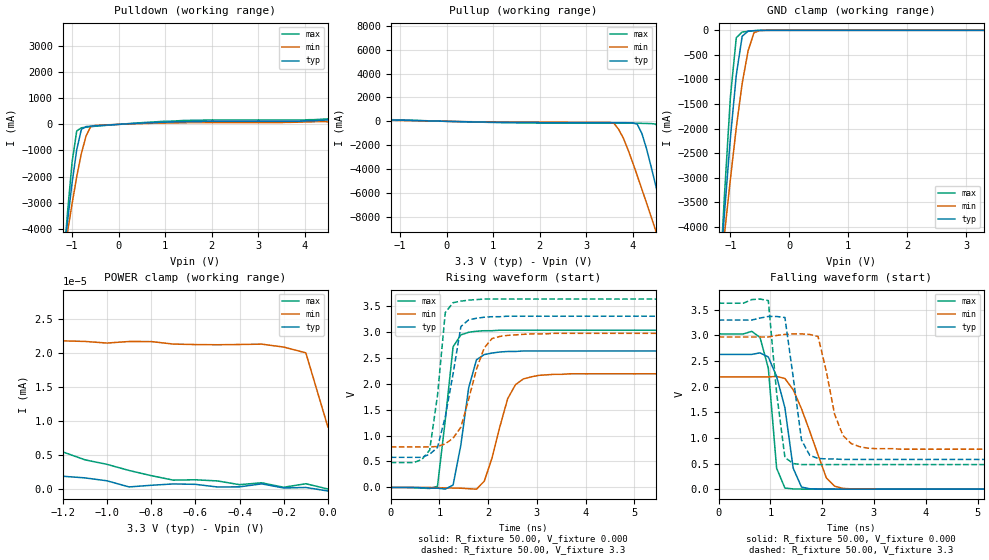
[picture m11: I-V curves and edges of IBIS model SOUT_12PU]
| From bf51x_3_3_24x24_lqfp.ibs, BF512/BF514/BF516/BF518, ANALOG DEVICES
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[Model]   SOUT_12PU
Model_type   I/O
Polarity   Non-Inverting
Enable   Active-Low
Vinl =  0.40V
Vinh =   2.40V
Vmeas =   1.20V
Cref =  50.00pF
Rref =   1.00M
Vref =  0.000V
C_comp   6.17pF   6.13pF   6.21pF
[Temperature Range]   25.00   0.12k   -40.00
[Voltage Range]   3.30V   2.97V   3.63V
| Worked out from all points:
|   slope of the pulldown table from 0 to 0.495 V, typ, clamps not added: 10.5 ohm
|   slope of the pullup table from 0 to 0.495 V, typ, clamps not added: 12.2 ohm
|   GND clamp passes 1 mA (typ) near -0.47 V on its own axis
|   POWER clamp passes 1 mA (typ) near -3.01 V on its own axis
|   rising waveform, R_fixture 50.00, V_fixture 0.000: 20-80 % time 275ps typ, 392ps min, 214ps max; typ from 0 V to 2.63 V
|   rising waveform, R_fixture 50.00, V_fixture 3.3: 20-80 % time 324ps typ, 401ps min, 224ps max; typ from 0.58 V to 3.3 V
|   falling waveform, R_fixture 50.00, V_fixture 0.000: 20-80 % time 279ps typ, 481ps min, 161ps max; typ from 2.63 V to 0 V
|   falling waveform, R_fixture 50.00, V_fixture 3.3: 20-80 % time 217ps typ, 309ps min, 197ps max; typ from 3.3 V to 0.58 V
[Pulldown]
| voltage   I(typ)   I(min)   I(max)
-3.3V     -40.6A     -30.22A    -54.64A
-1.2V     -5.34A     -5.28A     -5.61A
-1.1V     -3.75A     -4.15A     -3.42A
-1V       -2.24A     -3.04A     -1.45A
-900mV    -970mA     -2A        -250mA
-800mV    -190mA     -1.11A     -130mA
-700mV    -85.15mA   -450mA     -110mA
-400mV    -42.91mA   -29.03mA   -56.54mA
6.2V      150mA      90.09mA    220mA
6.3V      150mA      92.13mA    410mA
6.4V      170mA      94.31mA    1.28A
6.6V      970mA      100mA      3.74A
[Pullup]
| voltage   I(typ)   I(min)   I(max)
-3.3V     820mA      2.28mA     7.93A
-2.8V     3.57mA     2.1mA      1.4A
-2.6V     3.49mA     2.05mA     17.7mA
3.6V      -110mA     -170mA     -160mA
3.8V      -110mA     -1.4A      -160mA
4.1V      -240mA     -4.55A     -160mA
4.3V      -2.3A      -6.85A     -180mA
4.5V      -5.42A     -9.2A      -230mA
4.6V      -7.05A     -10.38A    -1.04A
4.7V      -8.7A      -11.56A    -2.87A
5V        -13.71A    -15.12A    -9.57A
6.6V      -40.72A    -34.26A    -47.05A
[GND_clamp]
| voltage   I(typ)   I(min)   I(max)
-3.3V     -40.6A     -30.22A    -54.64A
-1.2V     -5.3A      -5.27A     -5.54A
-1.1V     -3.71A     -4.14A     -3.34A
-1V       -2.19A     -3.03A     -1.36A
-900mV    -910mA     -1.98A     -150mA
-800mV    -120mA     -1.08A     -34.67mA
-700mV    -16.84mA   -420mA     -20.08mA
-600mV    -6.11mA    -48.01mA   -8.68mA
-500mV    -1.32mA    -4.87mA    -1.81mA
3.3V      -290pA     20.91nA    150pA
[POWER_clamp]
| voltage   I(typ)   I(min)   I(max)
-3.3V     810mA      270nA      7.93A
-2.6V     28.78nA    33.13nA    12.12mA
-2.4V     20.23nA    29.63nA    790nA
-2.2V     14.05nA    27.08nA    38.87nA
-2V       10.55nA    25.6nA     28.14nA
-1.8V     6.5nA      23.72nA    19.5nA
-1.6V     4.29nA     22.94nA    13.14nA
-1.2V     1.88nA     21.79nA    5.46nA
-900mV    310pA      21.7nA     2.73nA
-700mV    750pA      21.32nA    1.31nA
-100mV    230pA      20.03nA    780pA
0V        -290pA     9.11nA     4.57pA
[Ramp]
| variable   typ   min   max
dV/dt_r   1.60/0.25n   1.34/0.39n   1.84/0.18n
dV/dt_f   1.67/0.18n   1.35/0.28n   1.94/0.14n
R_load = 50.00
[Rising Waveform]
R_fixture = 50.00
V_fixture = 0.000
V_fixture_min = 0.000
V_fixture_max = 0.000
L_fixture = 0.000H
C_fixture = 0.000F
| time   V(typ)   V(min)   V(max)
0s        0V         0V         0V
960ps     -14.55mV   -4.12mV    21.12mV
1.28ns    45.72mV    -11.41mV   2.71V
1.44ns    820mV      -14.7mV    2.94V
1.6ns     1.92V      -24.45mV   2.99V
1.76ns    2.46V      -33.19mV   3.01V
1.92ns    2.56V      120mV      3.02V
2.4ns     2.62V      1.71V      3.03V
2.72ns    2.63V      2.09V      3.03V
8ns       2.63V      2.19V      3.03V
[Rising Waveform]
R_fixture = 50.00
V_fixture = 3.3
V_fixture_min = 2.97
V_fixture_max = 3.63
L_fixture = 0.000H
C_fixture = 0.000F
| time   V(typ)   V(min)   V(max)
0s        580mV      780mV      480mV
480ps     580mV      780mV      480mV
800ps     640mV      780mV      720mV
960ps     770mV      790mV      1.77V
1.12ns    1.36V      840mV      3.37V
1.28ns    2.19V      950mV      3.56V
1.44ns    3.1V       1.16V      3.59V
1.76ns    3.26V      2.28V      3.62V
2.08ns    3.29V      2.87V      3.63V
8ns       3.3V       2.97V      3.63V
[Falling Waveform]
R_fixture = 50.00
V_fixture = 0.000
V_fixture_min = 0.000
V_fixture_max = 0.000
L_fixture = 0.000H
C_fixture = 0.000F
| time   V(typ)   V(min)   V(max)
0s        2.63V      2.19V      3.03V
800ps     2.66V      2.19V      2.96V
960ps     2.58V      2.19V      2.36V
1.12ns    2.2V       2.2V       410mV
1.28ns    1.59V      2.16V      21.81mV
1.44ns    410mV      1.94V      4.79mV
1.6ns     41.75mV    1.57V      1.78mV
2.08ns    1.35mV     220mV      62.85uV
2.24ns    600uV      57.83mV    22.36uV
8ns       140nV      650nV      -34.61nV
[Falling Waveform]
R_fixture = 50.00
V_fixture = 3.3
V_fixture_min = 2.97
V_fixture_max = 3.63
L_fixture = 0.000H
C_fixture = 0.000F
| time   V(typ)   V(min)   V(max)
0s        3.3V       2.97V      3.63V
960ps     3.37V      2.97V      3.68V
1.28ns    3.35V      3.02V      620mV
1.44ns    2.19V      3.03V      500mV
1.6ns     960mV      3.03V      480mV
1.76ns    660mV      3.02V      480mV
1.92ns    600mV      2.98V      480mV
2.4ns     580mV      1.05V      480mV
2.72ns    580mV      830mV      480mV
8ns       580mV      780mV      480mV
